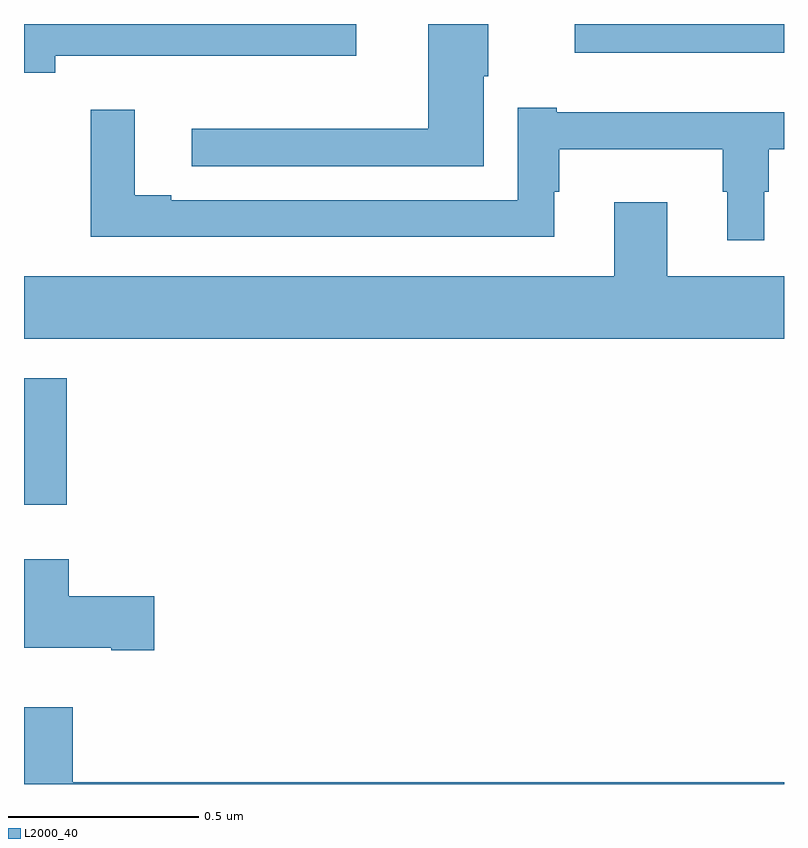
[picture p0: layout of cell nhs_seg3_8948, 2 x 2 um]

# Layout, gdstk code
import gdstk
lib = gdstk.Library(unit=1e-6, precision=1e-09)
def R(c, l, rs):  # rectangles x0, y0, x1, y1
    for r in rs: c.add(gdstk.rectangle(r[:2], r[2:], *l))
def P(c, l, *ps):  # polygons
    for p in ps: c.add(gdstk.Polygon(p, *l))
L2000_40 = (2000, 40)

nhs_seg3_8948 = lib.new_cell('nhs_seg3_8948')
R(nhs_seg3_8948, L2000_40, [(222,711.135,222.113,711.468), (223.449,712.325,224,712.4)])
P(nhs_seg3_8948, L2000_40, [(222.082,712.316),(222.874,712.316),(222.874,712.4),(222,712.4),(222,712.272),(222.082,712.272)],
  [(223.21,712.263),(223.222,712.263),(223.222,712.4),(223.064,712.4),(223.064,712.124),(222.441,712.124),(222.441,712.026),(223.21,712.026)],
  [(223.948,711.959),(223.96,711.959),(223.96,712.07),(224,712.07),(224,712.168),(223.402,712.168),(223.402,712.18),(223.299,712.18),(223.299,711.936),(222.388,711.936),(222.388,711.949),(222.292,711.949),(222.292,712.174),(222.175,712.174),(222.175,711.84),(223.396,711.84),(223.396,711.959),(223.408,711.959),(223.408,712.07),(223.839,712.07),(223.839,711.959),(223.85,711.959),(223.85,711.831),(223.948,711.831)],
  [(224,711.736),(223.693,711.736),(223.693,711.931),(223.553,711.931),(223.553,711.736),(222,711.736),(222,711.572),(224,711.572)],
  [(222.343,710.894),(222.118,710.894),(222.118,710.992),(222,710.992),(222,710.759),(222.23,710.759),(222.23,710.752),(222.343,710.752)],
  [(224,710.404),(222.128,710.404),(222.128,710.602),(222,710.602),(222,710.4),(224,710.4)])

lib.write_gds('nhs_seg3_8948.gds')
